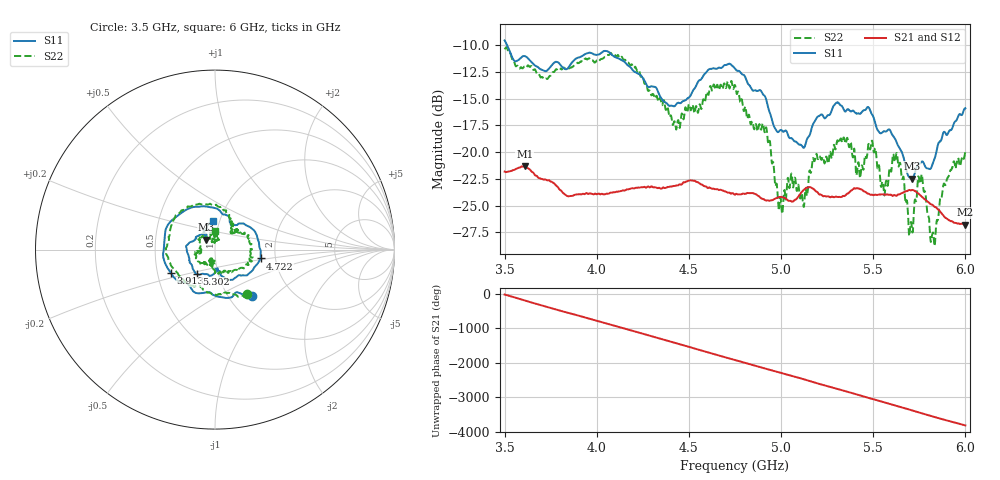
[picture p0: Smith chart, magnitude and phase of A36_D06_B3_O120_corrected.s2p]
! Created with skrf 1.9.0 (http://scikit-rf.org).
# Hz S RI R 50.0
!freq ReS11 ImS11 ReS21 ImS21 ReS12 ImS12 ReS22 ImS22
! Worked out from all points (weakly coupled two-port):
!   1601 points, 3.5 GHz to 6 GHz, reference 50 ohm
!   highest |S21| = -21.34 dB at 3.609 GHz (marker M1); lowest = -26.8 dB at 5.998 GHz (marker M2)
!   lowest |S11| = -22.5 dB at 5.711 GHz (marker M3), VSWR 1.16, Z = 45 + j5.07 ohm
!   |S11| at or under -10 dB: 3.514 GHz to end of sweep
!   |S22| runs from -28.8 to -10.2 dB; largest |S21 - S12| = 0.001
!   S11 on the Smith chart (normalised r, x): 3.5 GHz: 1.28, -0.75; 3.913 GHz: 0.59, -0.17; 4.722 GHz: 1.67, -0.18; 5.302 GHz: 0.79, -0.22; 6 GHz: 0.93, +0.31
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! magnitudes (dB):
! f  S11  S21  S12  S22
! 3.5 GHz  -9.6  -21.8  -21.8  -10.3
! 3.609 GHz  -11.0  -21.3  -21.3  -12.0
! 3.913 GHz  -11.1  -23.9  -23.9  -11.5
! 3.917 GHz  -11.1  -24.0  -23.9  -11.5
! 4.125 GHz  -11.3  -23.7  -23.6  -11.2
! 4.334 GHz  -14.4  -23.3  -23.3  -15.3
! 4.439 GHz  -15.4  -23.1  -23.0  -17.1
! 4.722 GHz  -11.7  -23.8  -23.8  -14.0
! 4.75 GHz  -12.2  -24.0  -23.9  -13.8
! 4.912 GHz  -14.8  -24.5  -24.4  -18.1
! 4.997 GHz  -17.9  -24.2  -24.1  -24.3
! 5.13 GHz  -19.4  -23.4  -23.4  -23.8
! 5.167 GHz  -17.7  -23.4  -23.3  -21.3
! 5.302 GHz  -15.4  -24.2  -24.1  -19.2
! 5.584 GHz  -17.9  -24.0  -23.9  -22.2
! 5.636 GHz  -19.4  -24.0  -23.9  -21.3
! 5.711 GHz  -22.5  -23.5  -23.5  -27.4
! 5.756 GHz  -21.0  -24.1  -24.0  -22.9
! 5.825 GHz  -21.0  -25.0  -24.9  -27.5
! 5.889 GHz  -18.2  -26.1  -26.1  -23.1
! 5.998 GHz  -15.9  -26.8  -26.7  -20.1
! 6 GHz  -15.9  -26.8  -26.7  -19.9
